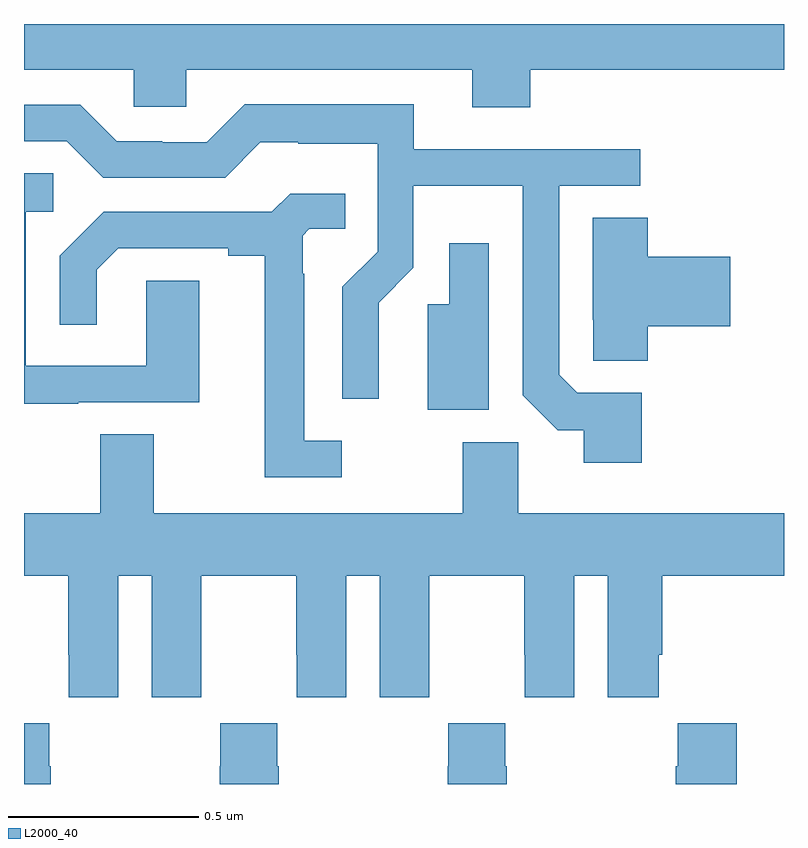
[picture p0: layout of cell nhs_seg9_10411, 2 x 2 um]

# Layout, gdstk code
import gdstk
lib = gdstk.Library(unit=1e-6, precision=1e-09)
def P(c, l, *ps):  # polygons
    for p in ps: c.add(gdstk.Polygon(p, *l))
L2000_40 = (2000, 40)

nhs_seg9_10411 = lib.new_cell('nhs_seg9_10411')
P(nhs_seg9_10411, L2000_40, [(243.332,1236.38),(244,1236.38),(244,1236.5),(242,1236.5),(242,1236.38),(242.289,1236.38),(242.289,1236.282),(242.427,1236.282),(242.427,1236.38),(243.179,1236.38),(243.179,1236.281),(243.332,1236.281)],
  [(243.626,1235.529),(243.456,1235.529),(243.408,1235.577),(243.408,1236.075),(243.622,1236.075),(243.622,1236.171),(243.025,1236.171),(243.025,1236.289),(242.581,1236.289),(242.481,1236.189),(242.364,1236.189),(242.364,1236.192),(242.244,1236.192),(242.148,1236.288),(242,1236.288),(242,1236.192),(242.112,1236.192),(242.208,1236.096),(242.529,1236.096),(242.622,1236.189),(242.722,1236.189),(242.722,1236.185),(242.931,1236.185),(242.931,1235.901),(242.838,1235.808),(242.838,1235.514),(242.934,1235.514),(242.934,1235.66),(242.933,1235.66),(242.933,1235.766),(243.024,1235.858),(243.024,1236.074),(243.312,1236.074),(243.312,1235.523),(243.405,1235.431),(243.473,1235.431),(243.473,1235.346),(243.626,1235.346)],
  [(242.143,1235.505),(242.461,1235.505),(242.461,1235.825),(242.322,1235.825),(242.322,1235.601),(242.004,1235.601),(242.004,1236.006),(242.077,1236.006),(242.077,1236.107),(242,1236.107),(242,1235.501),(242.143,1235.501)],
  [(242.836,1235.403),(242.737,1235.403),(242.737,1235.843),(242.733,1235.843),(242.733,1235.943),(242.751,1235.961),(242.846,1235.961),(242.846,1236.053),(242.7,1236.053),(242.652,1236.006),(242.21,1236.006),(242.094,1235.89),(242.094,1235.709),(242.191,1235.709),(242.191,1235.853),(242.248,1235.91),(242.537,1235.91),(242.537,1235.89),(242.633,1235.89),(242.633,1235.307),(242.836,1235.307)],
  [(243.641,1235.705),(243.859,1235.705),(243.859,1235.888),(243.641,1235.888),(243.641,1235.99),(243.497,1235.99),(243.497,1235.722),(243.498,1235.722),(243.498,1235.614),(243.641,1235.614)],
  [(243.223,1235.923),(243.119,1235.923),(243.119,1235.763),(243.062,1235.763),(243.062,1235.485),(243.223,1235.485)],
  [(242.248,1235.048),(242.336,1235.048),(242.336,1234.728),(242.466,1234.728),(242.466,1234.84),(242.467,1234.84),(242.467,1235.048),(242.717,1235.048),(242.717,1234.84),(242.718,1234.84),(242.718,1234.728),(242.848,1234.728),(242.848,1235.048),(242.936,1235.048),(242.936,1234.728),(243.066,1234.728),(243.066,1234.84),(243.067,1234.84),(243.067,1235.048),(243.317,1235.048),(243.317,1234.84),(243.318,1234.84),(243.318,1234.728),(243.448,1234.728),(243.448,1235.048),(243.536,1235.048),(243.536,1234.728),(243.67,1234.728),(243.67,1234.84),(243.68,1234.84),(243.68,1235.048),(244,1235.048),(244,1235.212),(243.3,1235.212),(243.3,1235.4),(243.154,1235.4),(243.154,1235.212),(242.341,1235.212),(242.341,1235.42),(242.201,1235.42),(242.201,1235.212),(242,1235.212),(242,1235.048),(242.117,1235.048),(242.117,1234.84),(242.118,1234.84),(242.118,1234.728),(242.248,1234.728)],
  [(242.67,1234.547),(242.667,1234.547),(242.667,1234.66),(242.517,1234.66),(242.517,1234.547),(242.515,1234.547),(242.515,1234.5),(242.67,1234.5)],
  [(243.875,1234.66),(243.721,1234.66),(243.721,1234.547),(243.715,1234.547),(243.715,1234.5),(243.875,1234.5)],
  [(242.07,1234.547),(242.067,1234.547),(242.067,1234.66),(242,1234.66),(242,1234.5),(242.07,1234.5)],
  [(243.27,1234.547),(243.267,1234.547),(243.267,1234.66),(243.117,1234.66),(243.117,1234.547),(243.115,1234.547),(243.115,1234.5),(243.27,1234.5)])

lib.write_gds('nhs_seg9_10411.gds')
